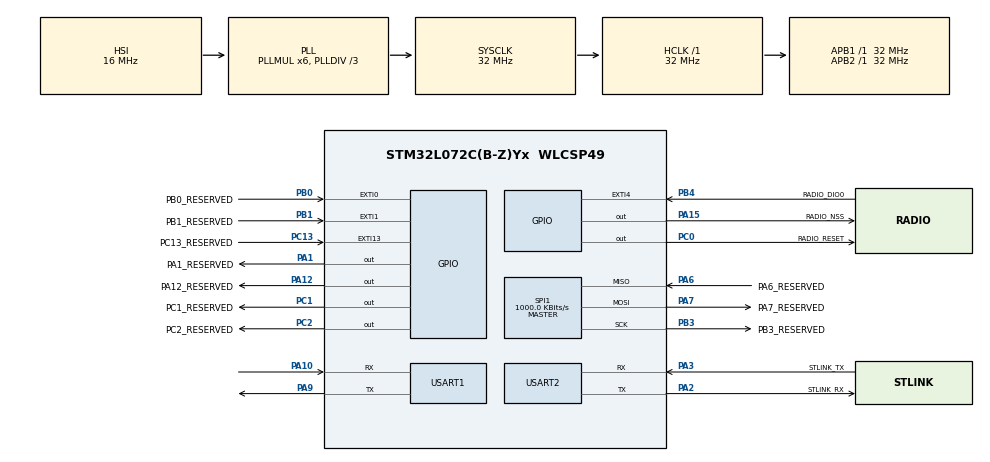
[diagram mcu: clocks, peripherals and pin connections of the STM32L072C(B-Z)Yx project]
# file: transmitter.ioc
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Mcu.Family=STM32L0
Mcu.Name=STM32L072C(B-Z)Yx
Mcu.Package=WLCSP49
NVIC.EXTI0_1_IRQn=true\:0\:0\:false\:false\:true\:true\:true\:true
NVIC.EXTI4_15_IRQn=true\:0\:0\:false\:false\:true\:true\:true\:true
NVIC.RTC_IRQn=true\:0\:0\:false\:false\:true\:true\:true\:true
NVIC.USART1_IRQn=true\:0\:0\:false\:false\:true\:true\:true\:true
NVIC.USART2_IRQn=true\:0\:0\:false\:false\:true\:true\:true\:true
PA1.GPIO_Label=PA1_RESERVED
PA1.GPIO_Speed=GPIO_SPEED_FREQ_HIGH
PA1.PinState=GPIO_PIN_RESET
PA1.Signal=GPIO_Output
PA10.Mode=Asynchronous
PA10.Signal=USART1_RX
PA12.GPIO_Label=PA12_RESERVED
PA12.GPIO_Speed=GPIO_SPEED_FREQ_HIGH
PA12.Signal=GPIO_Output
PA15.GPIO_Label=RADIO_NSS
PA15.GPIO_Speed=GPIO_SPEED_FREQ_HIGH
PA15.PinState=GPIO_PIN_SET
PA15.Signal=GPIO_Output
PA2.GPIO_Label=STLINK_RX
PA2.Mode=Asynchronous
PA2.Signal=USART2_TX
PA3.GPIO_Label=STLINK_TX
PA3.Mode=Asynchronous
PA3.Signal=USART2_RX
PA6.GPIO_Label=PA6_RESERVED
PA6.Mode=Full_Duplex_Master
PA6.Signal=SPI1_MISO
PA7.GPIO_Label=PA7_RESERVED
PA7.Mode=Full_Duplex_Master
PA7.Signal=SPI1_MOSI
PA9.Mode=Asynchronous
PA9.Signal=USART1_TX
PB0.GPIO_Label=PB0_RESERVED
PB0.Signal=GPXTI0
PB1.GPIO_Label=PB1_RESERVED
PB1.Signal=GPXTI1
PB3.GPIO_Label=PB3_RESERVED
PB3.Mode=Full_Duplex_Master
PB3.Signal=SPI1_SCK
PB4.GPIO_Label=RADIO_DIO0
PB4.Signal=GPXTI4
PC0.GPIO_Label=RADIO_RESET
PC0.GPIO_Speed=GPIO_SPEED_FREQ_HIGH
PC0.Signal=GPIO_Output
PC1.GPIO_Label=PC1_RESERVED
PC1.GPIO_Speed=GPIO_SPEED_FREQ_HIGH
PC1.Signal=GPIO_Output
PC13.GPIO_Label=PC13_RESERVED
PC13.Signal=GPXTI13
PC2.GPIO_Label=PC2_RESERVED
PC2.GPIO_Speed=GPIO_SPEED_FREQ_HIGH
PC2.Signal=GPIO_Output
PH0-OSC_IN.Signal=RCC_OSC_IN
PH1-OSC_OUT.Signal=RCC_OSC_OUT
ProjectManager.HeapSize=0x200
ProjectManager.StackSize=0x400
ProjectManager.TargetToolchain=STM32CubeIDE
RCC.AHBFreq_Value=32000000
RCC.APB1Freq_Value=32000000
RCC.APB1TimFreq_Value=32000000
RCC.APB2Freq_Value=32000000
RCC.APB2TimFreq_Value=32000000
RCC.HCLKFreq_Value=32000000
RCC.HSE_VALUE=8000000
RCC.HSI16_VALUE=16000000
RCC.HSI48_VALUE=48000000
RCC.HSI_VALUE=16000000
RCC.LSE_VALUE=32768
RCC.MSI_VALUE=2097000
RCC.PLLDIV=RCC_PLLDIV_3
RCC.PLLMUL=RCC_PLLMUL_6
RCC.SYSCLKFreq_VALUE=32000000
RCC.SYSCLKSource=RCC_SYSCLKSOURCE_PLLCLK
RCC.VCOOutputFreq_Value=96000000
RTC.Alarm-Alarm\ A=RTC_ALARM_A
RTC.AlarmSubSecondMask-Alarm\ A=RTC_ALARMSUBSECONDMASK_NONE
RTC.AsynchPrediv=31
RTC.Format=RTC_FORMAT_BIN
RTC.SynchPrediv=1023
SPI1.BaudRatePrescaler=SPI_BAUDRATEPRESCALER_32
SPI1.CalculateBaudRate=1000.0 KBits/s
SPI1.Direction=SPI_DIRECTION_2LINES
SPI1.Mode=SPI_MODE_MASTER
SPI1.VirtualType=VM_MASTER
USART1.VirtualMode-Asynchronous=VM_ASYNC
USART2.VirtualMode-Asynchronous=VM_ASYNC
VP_RTC_VS_RTC_Activate.Mode=RTC_Enabled
VP_RTC_VS_RTC_Alarm_A_Intern.Mode=Alarm A
VP_RTC_VS_RTC_Calendar.Mode=RTC_Calendar
board=B-L072Z-LRWAN1

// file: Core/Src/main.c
/* USER CODE BEGIN Header */
/**
 ******************************************************************************
 * @file           : main.c
 * @brief          : Main program body
 ******************************************************************************
 * @attention
 *
 * Copyright (c) 2026 STMicroelectronics.
 * All rights reserved.
 *
 * This software is licensed under terms that can be found in the LICENSE file
 * in the root directory of this software component.
 * If no LICENSE file comes with this software, it is provided AS-IS.
 *
 ******************************************************************************
 */
/* USER CODE END Header */
#include "main.h"
#include "rtc.h"
#include "spi.h"
#include "usart.h"
#include "gpio.h"
/* USER CODE BEGIN Includes */
#include <string.h>
#include <stdio.h>
#include "sx1276_light.h"//edit
/* USER CODE END Includes */
/* USER CODE BEGIN PV */
uint8_t rx_byte;        // it is like a one byte bucket , when we will recieve one byte , we will store in this
uint8_t rx_buffer[68] = {0};  // this is our actual 64 bit bucket , where out data will be stored when transmitted with uart
uint8_t rx_index = 0; // this keeps count of which payload byte we are currently receiving from 0 to 63
uint8_t rx_checksum = 0; // we update this with every data byte we recieve to check against esp32's math later.
struct __attribute__((packed)) TelemetryPacket {
   uint32_t time_ms;
   uint32_t rpm;
   float motor_temp;
   float mcu_temp;
   float iq_actual;
   float pot1, pot2, pot3, pot4, pot5;
   float brake_volt;
   float ax, ay, az;
   float roll_rate, pitch_rate, yaw_rate;
};
struct TelemetryPacket received_telemetry;
// The states for our UART packet reader
typedef enum {   // this creates our "state machine " it defines the exact 4 phases oru reciever can be in
   STATE_WAIT_START,
   STATE_READ_PAYLOAD,
   STATE_READ_CHECKSUM,
   STATE_WAIT_END
} RX_State_t;
volatile RX_State_t rx_state = STATE_WAIT_START; //this will hold our current state.
volatile uint8_t packet_ready = 0; // true/false flag that tells the main loop when full, error-free packet is ready to be used.
/* USER CODE END PV */
void SystemClock_Config(void);
/* USER CODE BEGIN 0 */
void HAL_UART_RxCpltCallback(UART_HandleTypeDef *huart) {// this is a hardware interrupt. It is a reflex. Every single time the stm3 recieved t byte into rxbyte , it pauses the main loop , jumps here and runs the code instantly and goes back
   if (huart->Instance == USART1) { // this checks makes sure that the interrupt came from usart1 and not any other serial port.
       switch (rx_state) {
           case STATE_WAIT_START:
               if (rx_byte == 0xAA) {
                   rx_index = 0;
                   rx_checksum = 0;
                   rx_state = STATE_READ_PAYLOAD;
               }
               break;
           case STATE_READ_PAYLOAD:
               rx_buffer[rx_index++] = rx_byte;
               rx_checksum ^= rx_byte; // Update running checksum
               if (rx_index >= 68) {
                   rx_state = STATE_READ_CHECKSUM;
               }
               break;
           case STATE_READ_CHECKSUM:
               if (rx_byte == rx_checksum) {
                   rx_state = STATE_WAIT_END;
               } else {
                   rx_state = STATE_WAIT_START; // Corruption detected, drop packet
               }
               break;
           case STATE_WAIT_END:
               if (rx_byte == 0x55) {
                   packet_ready = 1; // Success! We have a perfect 64-byte packet
               }
               rx_state = STATE_WAIT_START; // Reset for the next packet
               break;
       }
       // Instantly re-arm the interrupt to catch the very next byte
       HAL_UART_Receive_IT(&huart1, &rx_byte, 1);
   }
}
/* USER CODE END 0 */
int main(void)
{
 /* MCU Configuration--------------------------------------------------------*/
 /* Reset of all peripherals, Initializes the Flash interface and the Systick. */
 HAL_Init();
 /* Configure the system clock */
 SystemClock_Config();
 /* Initialize all configured peripherals */
 MX_GPIO_Init();
 MX_RTC_Init();
 MX_SPI1_Init();
 MX_USART1_UART_Init();
 MX_USART2_UART_Init();
 /* USER CODE BEGIN 2 */
 char boot_msg[] = "\r\n--- STM32 Framed UART Ready. Waiting for ESP32... ---\r\n";
 HAL_UART_Transmit(&huart2, (uint8_t *)boot_msg, sizeof(boot_msg) - 1, HAL_MAX_DELAY);
 SX1276_Init(); //edit
 // Kick off the very first 1-byte read on USART1
 HAL_UART_Receive_IT(&huart1, &rx_byte, 1);
 /* USER CODE END 2 */
 /* Infinite loop */
 /* USER CODE BEGIN WHILE */
 while (1)
 {
     // If our state machine successfully found and verified a packet
	  if (packet_ready) {
	            packet_ready = 0; // Clear flag
	            // Instantly convert raw bytes back into structured variables
	            memcpy(&received_telemetry, rx_buffer, sizeof(received_telemetry));
	            // Let's print out a few values to your terminal to confirm success!
	            char log_msg[128];
	            snprintf(log_msg, sizeof(log_msg),"\r\n[DATA] Time: %lu ms | RPM: %lu | MotorTemp: %.1f C\r\n",received_telemetry.time_ms,received_telemetry.rpm,received_telemetry.motor_temp);
	            HAL_UART_Transmit(&huart2, (uint8_t *)log_msg, strlen(log_msg), HAL_MAX_DELAY);
	            SX1276_SendPacket(rx_buffer, 68);
	        }
   /* USER CODE END WHILE */
 }
}
void SystemClock_Config(void)
{
 RCC_OscInitTypeDef RCC_OscInitStruct = {0};
 RCC_ClkInitTypeDef RCC_ClkInitStruct = {0};
 RCC_PeriphCLKInitTypeDef PeriphClkInit = {0};
 /** Configure the main internal regulator output voltage
 */
 __HAL_PWR_VOLTAGESCALING_CONFIG(PWR_REGULATOR_VOLTAGE_SCALE1);
 /** Initializes the RCC Oscillators according to the specified parameters
 * in the RCC_OscInitTypeDef structure.
 */
 RCC_OscInitStruct.OscillatorType = RCC_OSCILLATORTYPE_HSI|RCC_OSCILLATORTYPE_LSI;
 RCC_OscInitStruct.HSIState = RCC_HSI_ON;
 RCC_OscInitStruct.HSICalibrationValue = RCC_HSICALIBRATION_DEFAULT;
 RCC_OscInitStruct.LSIState = RCC_LSI_ON;
 RCC_OscInitStruct.PLL.PLLState = RCC_PLL_ON;
 RCC_OscInitStruct.PLL.PLLSource = RCC_PLLSOURCE_HSI;
 RCC_OscInitStruct.PLL.PLLMUL = RCC_PLLMUL_6;
 RCC_OscInitStruct.PLL.PLLDIV = RCC_PLLDIV_3;
 if (HAL_RCC_OscConfig(&RCC_OscInitStruct) != HAL_OK)
 {
   Error_Handler();
 }
 /** Initializes the CPU, AHB and APB buses clocks
 */
 RCC_ClkInitStruct.ClockType = RCC_CLOCKTYPE_HCLK|RCC_CLOCKTYPE_SYSCLK
                             |RCC_CLOCKTYPE_PCLK1|RCC_CLOCKTYPE_PCLK2;
 RCC_ClkInitStruct.SYSCLKSource = RCC_SYSCLKSOURCE_PLLCLK;
 RCC_ClkInitStruct.AHBCLKDivider = RCC_SYSCLK_DIV1;
 RCC_ClkInitStruct.APB1CLKDivider = RCC_HCLK_DIV1;
 RCC_ClkInitStruct.APB2CLKDivider = RCC_HCLK_DIV1;
 if (HAL_RCC_ClockConfig(&RCC_ClkInitStruct, FLASH_LATENCY_1) != HAL_OK)
 {
   Error_Handler();
 }
 PeriphClkInit.PeriphClockSelection = RCC_PERIPHCLK_USART1|RCC_PERIPHCLK_USART2
                             |RCC_PERIPHCLK_RTC;
 PeriphClkInit.Usart1ClockSelection = RCC_USART1CLKSOURCE_PCLK2;
 PeriphClkInit.Usart2ClockSelection = RCC_USART2CLKSOURCE_PCLK1;
 PeriphClkInit.RTCClockSelection = RCC_RTCCLKSOURCE_LSI;
 if (HAL_RCCEx_PeriphCLKConfig(&PeriphClkInit) != HAL_OK)
 {
   Error_Handler();
 }
}
void Error_Handler(void)
{
 __disable_irq();
 while (1)
 {
 }
}
